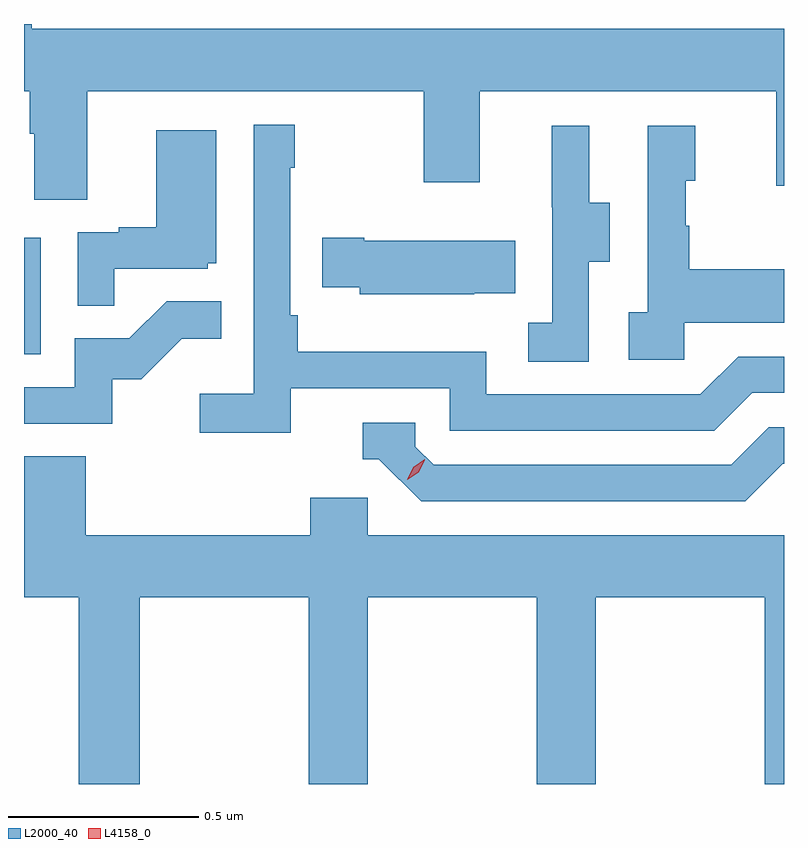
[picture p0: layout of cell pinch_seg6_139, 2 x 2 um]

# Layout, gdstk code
import gdstk
lib = gdstk.Library(unit=1e-6, precision=1e-09)
def R(c, l, rs):  # rectangles x0, y0, x1, y1
    for r in rs: c.add(gdstk.rectangle(r[:2], r[2:], *l))
def P(c, l, *ps):  # polygons
    for p in ps: c.add(gdstk.Polygon(p, *l))
L2000_40 = (2000, 40)
L4158_0 = (4158, 0)

pinch_seg6_139 = lib.new_cell('pinch_seg6_139')
R(pinch_seg6_139, L2000_40, [(985.73,922.668,985.774,922.975)])
P(pinch_seg6_139, L2000_40, [(985.897,923.36),(986.782,923.36),(986.782,923.121),(986.929,923.121),(986.929,923.36),(987.71,923.36),(987.71,923.112),(987.73,923.112),(987.73,923.524),(985.751,923.524),(985.751,923.537),(985.73,923.537),(985.73,923.36),(985.745,923.36),(985.745,923.248),(985.757,923.248),(985.757,923.074),(985.897,923.074)],
  [(986.432,922.578),(986.85,922.578),(986.85,922.467),(987.547,922.467),(987.646,922.566),(987.73,922.566),(987.73,922.662),(987.609,922.662),(987.51,922.563),(986.946,922.563),(986.946,922.675),(986.45,922.675),(986.45,922.771),(986.43,922.771),(986.43,923.159),(986.443,923.159),(986.443,923.272),(986.334,923.272),(986.334,922.564),(986.193,922.564),(986.193,922.462),(986.432,922.462)],
  [(987.216,922.912),(987.271,922.912),(987.271,923.067),(987.217,923.067),(987.217,923.269),(987.119,923.269),(987.119,923.055),(987.12,923.055),(987.12,922.751),(987.057,922.751),(987.057,922.648),(987.216,922.648)],
  [(987.468,922.751),(987.73,922.751),(987.73,922.891),(987.481,922.891),(987.481,923.006),(987.471,923.006),(987.471,923.124),(987.496,923.124),(987.496,923.269),(987.372,923.269),(987.372,922.778),(987.321,922.778),(987.321,922.653),(987.468,922.653)],
  [(985.967,922.893),(986.214,922.893),(986.214,922.908),(986.236,922.908),(986.236,923.257),(986.078,923.257),(986.078,923.002),(985.979,923.002),(985.979,922.989),(985.872,922.989),(985.872,922.795),(985.967,922.795)],
  [(986.915,922.829),(987.023,922.829),(987.023,922.966),(986.626,922.966),(986.626,922.974),(986.515,922.974),(986.515,922.844),(986.613,922.844),(986.613,922.826),(986.915,922.826)],
  [(985.962,922.602),(986.038,922.602),(986.145,922.709),(986.249,922.709),(986.249,922.808),(986.105,922.808),(986.007,922.71),(985.863,922.71),(985.863,922.581),(985.73,922.581),(985.73,922.485),(985.962,922.485)],
  [(987.727,922.38),(987.73,922.38),(987.73,922.476),(987.69,922.476),(987.591,922.377),(986.808,922.377),(986.76,922.425),(986.76,922.488),(986.621,922.488),(986.621,922.392),(986.664,922.392),(986.775,922.281),(987.628,922.281)],
  [(986.034,922.028),(986.479,922.028),(986.479,921.537),(986.634,921.537),(986.634,922.028),(987.079,922.028),(987.079,921.537),(987.234,921.537),(987.234,922.028),(987.679,922.028),(987.679,921.537),(987.73,921.537),(987.73,922.192),(986.634,922.192),(986.634,922.29),(986.483,922.29),(986.483,922.192),(985.892,922.192),(985.892,922.4),(985.73,922.4),(985.73,922.028),(985.874,922.028),(985.874,921.537),(986.034,921.537)])
P(pinch_seg6_139, L4158_0, [(986.738,922.338),(986.738,922.338),(986.754,922.371),(986.784,922.391),(986.784,922.391),(986.784,922.39),(986.769,922.358),(986.739,922.338)])

lib.write_gds('pinch_seg6_139.gds')
